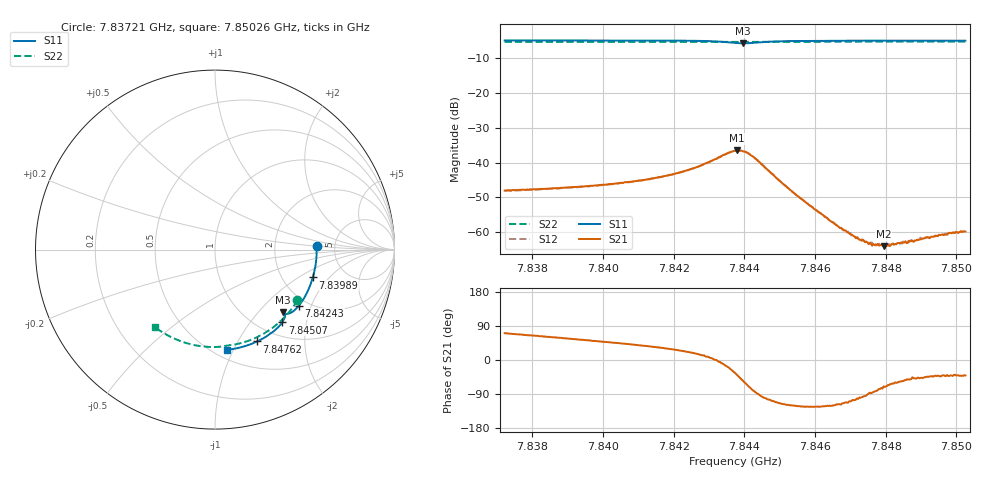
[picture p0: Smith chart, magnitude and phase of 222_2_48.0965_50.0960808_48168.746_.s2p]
#  HZ  S  RI  R  50.00
! Rohde & Schwarz Vector Network Analyzer
! Rohde-Schwarz,ZNB20-2Port,1311601062101988,3.16
! Created: UTC 12/23/2023, 3:56:51 AM
! freq[Hz]  re:S11  im:S11  re:S21  im:S21  re:S12  im:S12  re:S22  im:S22
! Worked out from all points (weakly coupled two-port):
!   401 points, 7.83721 GHz to 7.85026 GHz, reference 50 ohm
!   highest |S21| = -36.44 dB at 7.8438 GHz (marker M1); lowest = -64.0 dB at 7.84794 GHz (marker M2)
!   lowest |S11| = -5.8 dB at 7.84396 GHz (marker M3), VSWR 3.13, Z = 72.6 - j68.9 ohm
!   |S11| at or under -10 dB: nowhere
!   |S22| runs from -5.4 to -5.3 dB; largest |S21 - S12| = 0.00031
!   S11 on the Smith chart (normalised r, x): 7.83721 GHz: 3.60, +0.23; 7.83989 GHz: 2.94, -1.34; 7.84243 GHz: 1.79, -1.64; 7.84507 GHz: 1.25, -1.46; 7.84762 GHz: 0.81, -1.21; 7.85026 GHz: 0.58, -0.94
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7.837215e9  0.5659 0.0217  0.00131 0.00374  0.00134 0.00368  0.4596 -0.2828
7.839399e9  0.5534 -0.1231  0.00268 0.00364  0.00267 0.00359  0.3626 -0.4007
7.839888e9  0.5454 -0.1549  0.00311 0.00358  0.00308 0.00357  0.3365 -0.4232
7.841584e9  0.5011 -0.262  0.00518 0.00337  0.00511 0.00336  0.2364 -0.4869
7.842432e9  0.467 -0.3128  0.00739 0.00278  0.0073 0.00279  0.1813 -0.5101
7.843247e9  0.4182 -0.3539  0.0117 -0.000489  0.0116 -0.000442  0.1263 -0.5255
7.843736e9  0.3835 -0.3551  0.0122 -0.0083  0.0122 -0.00829  0.0934 -0.531
7.843801e9  0.3811 -0.3533  0.0116 -0.00965  0.0115 -0.00956  0.0893 -0.5314
7.843964e9  0.38 -0.3481  0.00824 -0.0119  0.00821 -0.012  0.0791 -0.5331
7.844095e9  0.3827 -0.3476  0.00535 -0.0127  0.00533 -0.0125  0.0708 -0.5345
7.844355e9  0.3897 -0.3574  0.000386 -0.011  0.000478 -0.011  0.0537 -0.5379
7.845073e9  0.3746 -0.4058  -0.00221 -0.00456  -0.00216 -0.00461  0.00336 -0.5427
7.84592e9  0.3326 -0.4504  -0.00127 -0.00191  -0.00125 -0.00194  -0.0563 -0.5407
7.846638e9  0.2924 -0.4799  -0.000569 -0.0011  -0.000579 -0.0011  -0.1064 -0.5338
7.847094e9  0.2658 -0.4959  -0.000246 -0.000845  -0.000239 -0.000837  -0.1376 -0.5268
7.847616e9  0.2341 -0.5118  4.3e-05 -0.000641  3.82e-05 -0.000703  -0.1729 -0.5164
7.847942e9  0.214 -0.5206  0.000218 -0.000592  0.000201 -0.000635  -0.1945 -0.5091
7.848105e9  0.204 -0.5249  0.000261 -0.000576  0.000281 -0.000611  -0.2053 -0.5049
7.848855e9  0.1564 -0.5408  0.000495 -0.000574  0.00051 -0.00057  -0.2529 -0.4832
7.849051e9  0.1436 -0.5444  0.000548 -0.000603  0.000581 -0.000592  -0.2651 -0.4766
7.849833e9  0.0927 -0.555  0.000741 -0.00064  0.000745 -0.000634  -0.3119 -0.4481
7.850257e9  0.0648 -0.5587  0.000774 -0.000669  0.000769 -0.000672  -0.3358 -0.4307
